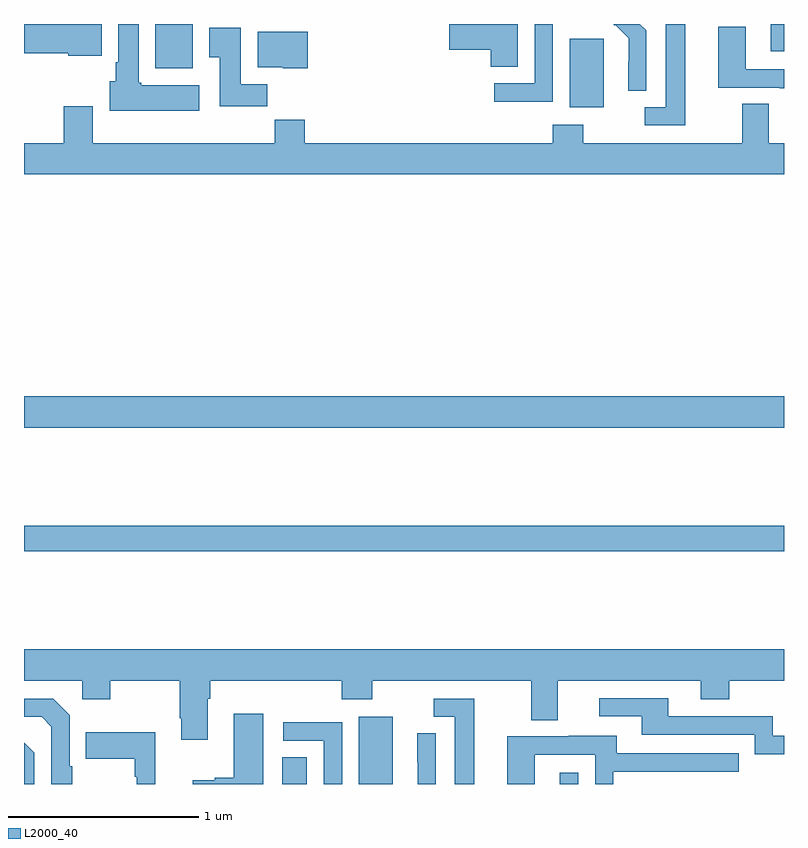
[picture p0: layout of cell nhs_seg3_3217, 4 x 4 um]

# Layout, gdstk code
import gdstk
lib = gdstk.Library(unit=1e-6, precision=1e-09)
def R(c, l, rs):  # rectangles x0, y0, x1, y1
    for r in rs: c.add(gdstk.rectangle(r[:2], r[2:], *l))
def P(c, l, *ps):  # polygons
    for p in ps: c.add(gdstk.Polygon(p, *l))
L2000_40 = (2000, 40)

nhs_seg3_3217 = lib.new_cell('nhs_seg3_3217')
R(nhs_seg3_3217, L2000_40, [(280.358,672.4,280.489,672.542), (280.763,672.4,280.942,672.754), (281.819,672.4,281.916,672.46), (279,673.624,283,673.76), (279,674.276,283,674.44), (281.873,675.962,282.052,676.323), (279.692,676.166,279.889,676.4), (282.929,676.257,283,676.4)])
P(nhs_seg3_3217, L2000_40, [(281.599,676.4),(281.238,676.4),(281.238,676.265),(281.456,676.265),(281.456,676.174),(281.599,676.174)],
  [(282.481,676.4),(282.377,676.4),(282.377,675.963),(282.267,675.963),(282.267,675.867),(282.481,675.867)],
  [(279.922,676.078),(279.618,676.078),(279.618,676.092),(279.604,676.092),(279.604,676.4),(279.497,676.4),(279.497,676.198),(279.482,676.198),(279.482,676.098),(279.452,676.098),(279.452,675.944),(279.922,675.944)],
  [(279.409,676.4),(279,676.4),(279,676.246),(279.234,676.246),(279.234,676.232),(279.409,676.232)],
  [(282.276,676.366),(282.242,676.4),(282.1,676.4),(282.108,676.392),(282.111,676.395),(282.182,676.325),(282.182,676.202),(282.18,676.202),(282.18,676.048),(282.276,676.048)],
  [(281.784,676.4),(281.688,676.4),(281.688,676.089),(281.475,676.089),(281.475,675.991),(281.784,675.991)],
  [(283,676.161),(282.798,676.161),(282.798,676.385),(282.653,676.385),(282.653,676.065),(282.977,676.065),(282.977,676.061),(283,676.061)],
  [(280.28,676.084),(280.141,676.084),(280.141,676.381),(279.974,676.381),(279.974,676.225),(280.031,676.225),(280.031,675.966),(280.28,675.966)],
  [(280.493,676.36),(280.229,676.36),(280.229,676.172),(280.362,676.172),(280.362,676.166),(280.493,676.166)],
  [(283,675.772),(282.919,675.772),(282.919,675.98),(282.779,675.98),(282.779,675.772),(281.943,675.772),(281.943,675.871),(281.783,675.871),(281.783,675.772),(280.478,675.772),(280.478,675.896),(280.321,675.896),(280.321,675.772),(279.361,675.772),(279.361,675.967),(279.209,675.967),(279.209,675.772),(279,675.772),(279,675.608),(283,675.608)],
  [(279.967,672.848),(279.98,672.848),(279.98,672.944),(280.673,672.944),(280.673,672.845),(280.833,672.845),(280.833,672.944),(281.669,672.944),(281.669,672.736),(281.809,672.736),(281.809,672.944),(282.563,672.944),(282.563,672.845),(282.711,672.845),(282.711,672.944),(283,672.944),(283,673.108),(279,673.108),(279,672.944),(279.306,672.944),(279.306,672.845),(279.453,672.845),(279.453,672.944),(279.82,672.944),(279.82,672.745),(279.827,672.745),(279.827,672.633),(279.967,672.633)],
  [(283,672.654),(282.942,672.654),(282.942,672.756),(282.391,672.756),(282.391,672.852),(282.027,672.852),(282.027,672.756),(282.251,672.756),(282.251,672.66),(282.846,672.66),(282.846,672.557),(283,672.557)],
  [(279.253,672.493),(279.24,672.493),(279.24,672.762),(279.153,672.849),(279,672.849),(279,672.753),(279.093,672.753),(279.144,672.702),(279.144,672.4),(279.253,672.4)],
  [(281.371,672.849),(281.157,672.849),(281.157,672.753),(281.267,672.753),(281.267,672.4),(281.371,672.4)],
  [(280.258,672.769),(280.103,672.769),(280.103,672.434),(280.004,672.434),(280.004,672.421),(279.888,672.421),(279.888,672.4),(280.258,672.4)],
  [(280.674,672.726),(280.365,672.726),(280.365,672.627),(280.578,672.627),(280.578,672.4),(280.674,672.4)],
  [(279.692,672.673),(279.325,672.673),(279.325,672.533),(279.582,672.533),(279.582,672.437),(279.594,672.437),(279.594,672.4),(279.692,672.4)],
  [(281.166,672.668),(281.07,672.668),(281.07,672.514),(281.072,672.514),(281.072,672.4),(281.166,672.4)],
  [(281.688,672.555),(282.006,672.555),(282.006,672.4),(282.102,672.4),(282.102,672.465),(282.761,672.465),(282.761,672.561),(282.121,672.561),(282.121,672.655),(281.867,672.655),(281.867,672.651),(281.543,672.651),(281.543,672.4),(281.688,672.4)],
  [(279.054,672.564),(279,672.618),(279,672.4),(279.054,672.4)])

lib.write_gds('nhs_seg3_3217.gds')
